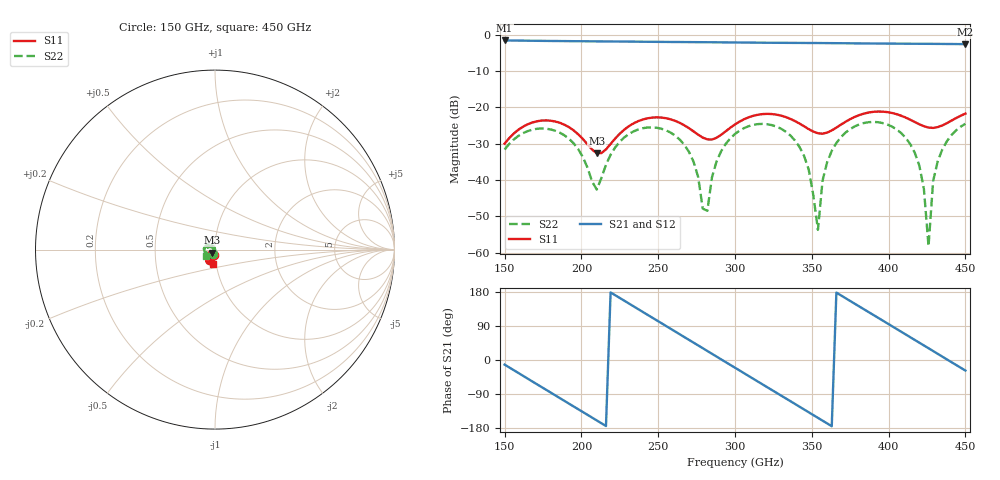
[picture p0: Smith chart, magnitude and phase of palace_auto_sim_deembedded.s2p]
! Created with skrf 1.11.0 (http://scikit-rf.org).
# GHz S DB R 50.0
!freq dBS11 angS11 dBS21 angS21 dBS12 angS12 dBS22 angS22
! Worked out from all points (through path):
!   101 points, 150 GHz to 450 GHz, reference 50 ohm
!   highest |S21| = -1.59 dB at 150 GHz (marker M1); lowest = -2.6 dB at 450 GHz (marker M2)
!   group delay of S21, straight-line fit = 6.81 ps
!   lowest |S11| = -32.6 dB at 210 GHz (marker M3), VSWR 1.05, Z = 48.4 - j1.67 ohm
!   |S11| at or under -10 dB: start of sweep to end of sweep
!   |S22| runs from -58.2 to -24.0 dB; largest |S21 - S12| = 9.4e-14
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150  -29.96 -97.4  -1.59 -12.2  -1.59 -12.2  -31.61 -117.3
177  -23.57 -129.1  -1.72 -78.6  -1.72 -78.6  -25.85 -169.6
201  -28.71 -155.6  -1.81 -137.4  -1.81 -137.4  -33.69 145.6
210  -32.60 -132.6  -1.84 -159.5  -1.84 -159.5  -42.61 -161.1
228  -26.08 -95.0  -1.90 156.3  -1.90 156.3  -28.23 -133.0
252  -22.80 -125.3  -1.99 97.4  -1.99 97.4  -25.86 172.5
270  -25.71 -141.4  -2.04 53.2  -2.04 53.2  -32.21 130.4
282  -28.80 -125.0  -2.08 23.8  -2.08 23.8  -48.43 -104.7
288  -28.35 -108.6  -2.10 9.0  -2.10 9.0  -34.86 -101.9
300  -24.68 -98.2  -2.15 -20.4  -2.15 -20.4  -27.30 -129.1
333  -22.65 -132.3  -2.25 -101.2  -2.25 -101.2  -26.66 149.5
345  -25.21 -136.0  -2.28 -130.6  -2.28 -130.6  -33.36 120.8
351  -26.66 -129.3  -2.29 -145.3  -2.29 -145.3  -44.17 112.0
354  -27.12 -123.2  -2.30 -152.7  -2.30 -152.7  -53.67 -111.8
357  -27.22 -116.2  -2.31 -160.0  -2.31 -160.0  -40.14 -97.5
366  -25.56 -100.3  -2.34 177.9  -2.34 177.9  -29.79 -116.3
402  -21.51 -123.9  -2.47 89.8  -2.47 89.8  -25.23 154.1
420  -24.64 -127.2  -2.51 45.7  -2.51 45.7  -35.99 107.2
426  -25.55 -118.7  -2.52 31.0  -2.52 31.0  -58.16 -56.7
429  -25.64 -113.0  -2.53 23.6  -2.53 23.6  -40.25 -89.9
432  -25.42 -107.3  -2.54 16.3  -2.54 16.3  -34.79 -99.2
450  -21.71 -98.5  -2.61 -27.9  -2.61 -27.9  -24.51 -146.1
